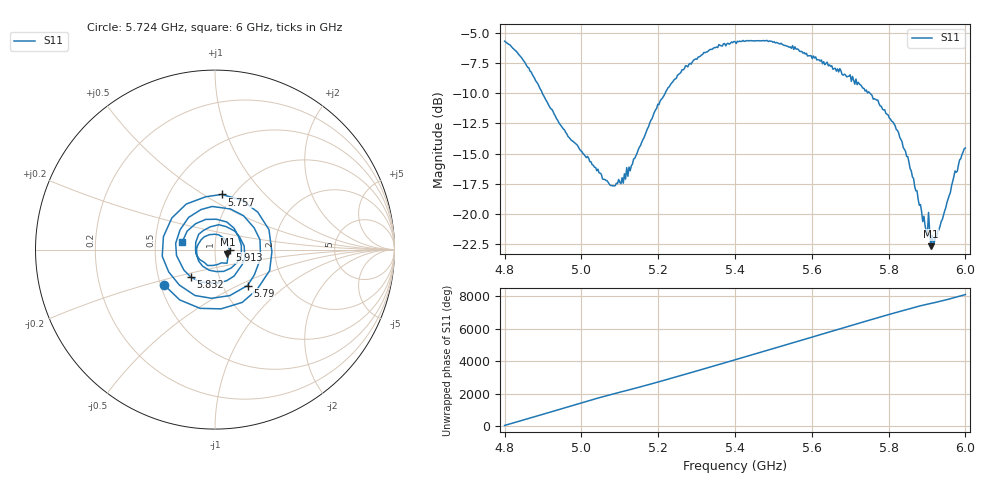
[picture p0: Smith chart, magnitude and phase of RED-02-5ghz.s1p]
! NanoVNA-App
! Date: 2026-05-22 18:32:29
! Start: 4.8GHz Stop: 6GHz Points: 401
! S-Parameter data: F S11
# Hz S RI R 50
!  Frequency  S11_Real  S11_Imag
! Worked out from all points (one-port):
!   401 points, 4.8 GHz to 6 GHz, reference 50 ohm
!   lowest |S11| = -22.7 dB at 5.91 GHz (marker M1), VSWR 1.16, Z = 57.4 - j2.84 ohm
!   |S11| at or under -10 dB: 4.898 GHz to 5.218 GHz (319.9 MHz wide, 6.33 % of centre); 5.751 GHz to end of sweep
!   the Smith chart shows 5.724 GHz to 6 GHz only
!   S11 on the Smith chart (normalised r, x): 5.724 GHz: 0.52, -0.23; 5.757 GHz: 0.88, +0.60; 5.79 GHz: 1.31, -0.56; 5.832 GHz: 0.73, -0.23; 5.913 GHz: 1.18, -0.01; 6 GHz: 0.69, +0.06
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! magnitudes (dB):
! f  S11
! 4.8 GHz  -5.7
! 4.857 GHz  -7.7
! 4.95 GHz  -12.8
! 5.061 GHz  -17.1
! 5.082 GHz  -17.7
! 5.1 GHz  -17.4
! 5.127 GHz  -16.4
! 5.193 GHz  -11.4
! 5.25 GHz  -8.5
! 5.319 GHz  -6.6
! 5.4 GHz  -5.7
! 5.487 GHz  -5.7
! 5.55 GHz  -6.1
! 5.7 GHz  -8.5
! 5.724 GHz  -9.2
! 5.757 GHz  -10.2
! 5.79 GHz  -11.4
! 5.817 GHz  -12.7
! 5.832 GHz  -13.8
! 5.85 GHz  -15.3
! 5.895 GHz  -21.0
! 5.898 GHz  -21.5
! 5.91 GHz  -22.7
! 5.913 GHz  -21.8
! 5.922 GHz  -21.9
! 5.931 GHz  -21.3
! 5.97 GHz  -16.9
! 6 GHz  -14.5
